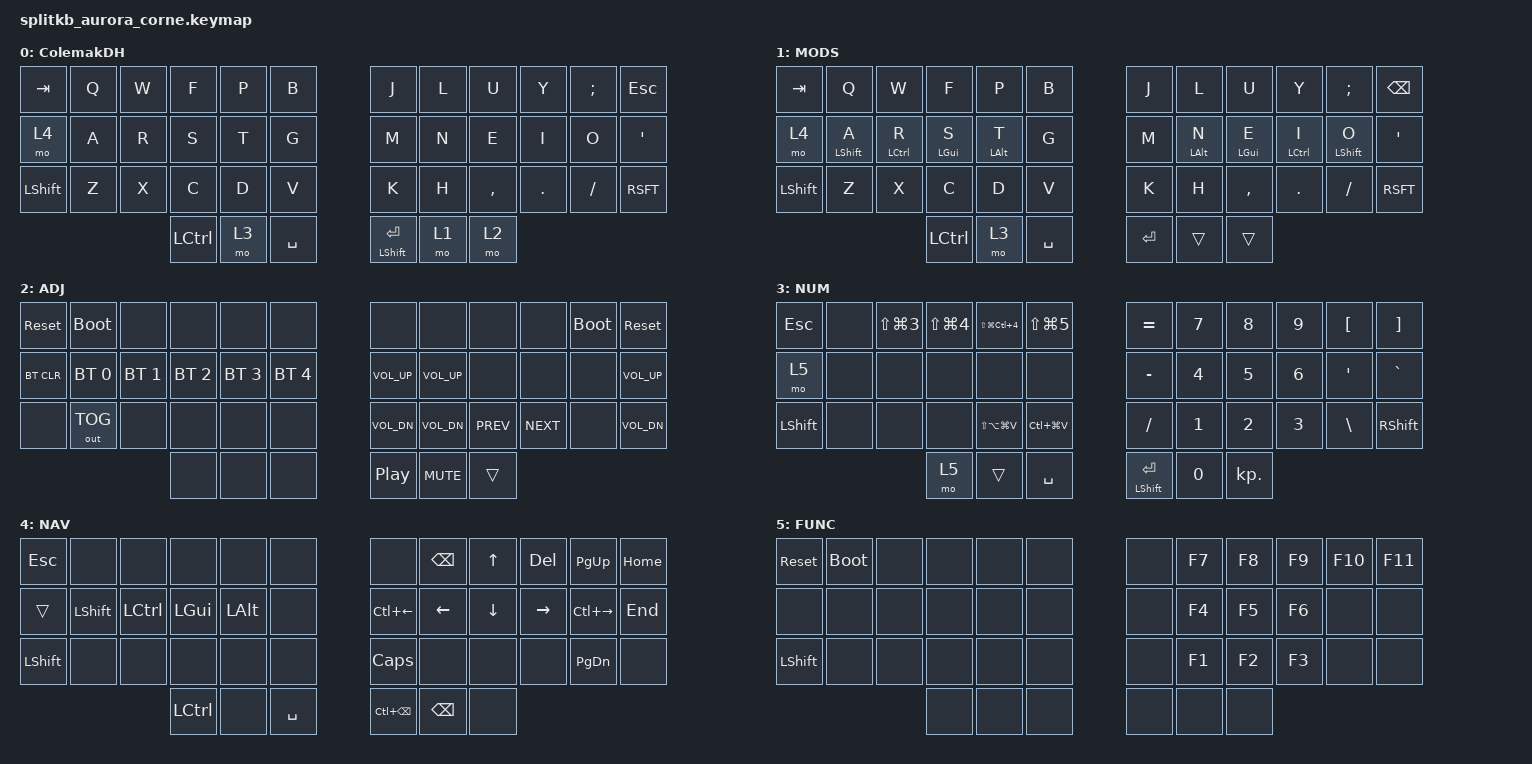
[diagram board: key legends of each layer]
/*
 * Copyright (c) 2020 The ZMK Contributors
 *
 * SPDX-License-Identifier: MIT
 */

#include <behaviors.dtsi>
#include <dt-bindings/zmk/keys.h>
#include <dt-bindings/zmk/bt.h>
#include <dt-bindings/zmk/outputs.h>
&mt {
     tapping-term-ms = <400>;
 };
 
/ {
        keymap {
                compatible = "zmk,keymap";

                default_layer {
                        label = "ColemakDH";
// -----------------------------------------------------------------------------------------
// |  TAB |  Q  |  W  |  F  |  P  |  B  |   |  J  |  L   |  U  |  Y  |  ;  | ESC |
// | MO-4 |  A  |  R  |  S  |  T  |  G  |   |  M  |  N   |  E  |  I  |  O  |  '   |
// | SHFT |  Z  |  X  |  C  |  D  |  V  |   |  K  |  H   |  ,  |  .  |  /  | RSFT |
//                    | CTL | MO-3| SPC |   |MT-ENT|MO-1 | MO-2 |
                        bindings = <
   &kp TAB   &kp Q &kp W &kp F &kp P &kp B    &kp J &kp L &kp U    &kp Y   &kp SEMI    &kp ESC
   &mo 4 &kp A &kp R &kp S &kp T &kp G    &kp M &kp N &kp E &kp I &kp O &kp APOS
   &kp LSHFT &kp Z &kp X &kp C &kp D &kp V    &kp K &kp H &kp CMMA &kp DOT &kp FSLH &kp RSFT
                   &kp LCTRL &mo 3 &kp SPACE   &mt LSHFT ENTER  &mo 1 &mo 2
                        >;
                };

                mods_layer {
                        label = "MODS";
// -----------------------------------------------------------------------------------------
// |  TAB |  Q  |  W  |  F  |  P  |  B  |   |  J  |  L   |  U  |  Y  |  ;  | ESC |
// | MO-4 | MT-A|MT-R |MT-S |MT-T |  G  |   |  M  |MT-N  |MT-E |MT-I |MT-O |  '   |
// | SHFT |  Z  |  X  |  C  |  D  |  V  |   |  K  |  H   |  ,  |  .  |  /  | RSFT |
//                    | CTRL| MO-3| SPC |   | ENT | trans| MO-2 |
                        bindings = <
   &kp TAB   &kp Q &kp W &kp F &kp P &kp B    &kp J &kp L &kp U    &kp Y   &kp SEMI    &kp BSPC
   &mo 4 &mt LSHFT A &mt LCTRL R &mt LGUI S &mt LALT T &kp G    &kp M &mt LALT N &mt LGUI E &mt LCTRL I &mt LSHFT O &kp APOS
   &kp LSHFT &kp Z &kp X &kp C &kp D &kp V    &kp K &kp H &kp CMMA &kp DOT &kp FSLH &kp RSFT
                   &kp LCTRL &mo 3 &kp SPACE   &kp ENTER &trans &trans 
                        >;
                };
                
                adj_layer {
                        label = "ADJ";
// -----------------------------------------------------------------------------------------
// | RESET|boot |     |     |     |     |   |     |     |     |     |     |boot |RESET
// | BTCLR| BT1 | BT2 | BT3 | BT4 | BT5 |   | Vol+| Vol+|     |     |     |      |Vol+
// |      |Out-t|     |     |     |     |   | Vol-| Vol-| PREV| NEXT|     |      |Vol-
//                    |     |     |     |   | Play| MUTE|trans|
                        bindings = <
   &sys_reset     &bootloader  &none        &none        &none        &none         &none        &none      &none      &none      &bootloader &sys_reset
   &bt BT_CLR &bt BT_SEL 0 &bt BT_SEL 1 &bt BT_SEL 2 &bt BT_SEL 3 &bt BT_SEL 4  &kp C_VOL_UP &kp C_VOL_UP      &none      &none      &none &kp C_VOL_UP
   &none      &out OUT_TOG &none        &none        &none        &none         &kp C_VOL_DN &kp C_VOL_DN &kp C_PREV &kp C_NEXT &none &kp C_VOL_DN
                          	        	&none     	 &none        &none      	&kp C_PP   &kp K_MUTE  &trans  
                        >;
                };

                num_layer {
                        label = "NUM";
// -----------------------------------------------------------------------------------------
// |  ESC |     |SG-3 |SG-4 |SGC4 |SG-5 |   |  =  |  7  |  8  |  9  |  [  | ]    |
// |MO-5  |     |     |     |     |     |   |  -  |  4  |  5  |  6  |  '  |  `   |
// | SHFT |     |     |     |SAG-V| CG-V|   |  /  |  1  |  2  |  3  |  \  |  SHFT|
//                    |MO-5 |trans| SPC |   |MT-ENT| 0  |  .   |
                        bindings = <
   &kp ESC   &none  &kp LS(LG(N3)) &kp LS(LG(N4)) &kp LS(LG(LC(N4))) &kp LS(LG(N5))     &kp EQUAL   &kp N7 &kp N8 &kp N9 &kp LBKT &kp RBKT
   &mo 5 	 &none 	&none 		   &none 		  &none 			 &none    			&kp MINUS 	&kp N4 &kp N5 &kp N6 &kp APOS  &kp GRAVE
   &kp LSHFT &none  &none    	   &none 		  &kp LS(LA(LG(V)))  &kp LC(LG(V)) 		&kp FSLH    &kp N1 &kp N2 &kp N3 &kp BSLH &kp RSHFT
              										&mo 5 &trans 	 &kp SPACE    		&mt LSHFT ENTER 	&kp N0 &kp KP_DOT
                        >;
                };
                
                nav_layer {
                        label = "NAV";
// -----------------------------------------------------------------------------------------
// |  ESC |     |     |     |     |     |   |     |BSPC | UP  | Del |PgUp | Home |
// |trans |SHFT |LCTRL|LALT |LGUI |     |   |C-Lft|Left |Down |Rght |C-Rgt| End  |
// | SHFT |     |     |     |     |     |   |Caps |     |     |     |     |      |
//                    | GUI |     | SPC |   |C-BS |     |     |
                        bindings = <
   &kp ESC   &none   &none  &none    &none    &none       &none     &kp BSPC  &kp UP  	&kp DEL &kp PG_UP &kp HOME
   &trans &kp LSHFT  &kp LCTRL &kp LGUI &kp LALT &none     &kp LC(LEFT) &kp LEFT &kp DOWN  &kp RIGHT &kp LC(RIGHT) &kp END
   &kp LSHFT &none   &none  &none    &none    &none       &kp CAPS &none  &none  &none &kp PG_DN &none
                    	    &kp LCTRL &none   &kp SPACE    &kp LC(BSPC)   &kp BSPC    &none
                        >;
                };
                
                func_layer {
                        label = "FUNC";
// -----------------------------------------------------------------------------------------
// | RESET|boot |     |     |     |     |   |     |  F7 |  F8 | F9  | F10 | F11  |
// |      |     |     |     |     |     |   |     |  F4 |  F5 | F6  |     |      |
// | SHFT |     |     |     |     |     |   |     |  F1 |  F2 | F3  |     |      |
//                    |     |     |     |   |     |     |     |
                        bindings = <
   &sys_reset &bootloader &none &none &none &none   &none &kp F7 &kp F8 &kp F9 &kp F10 &kp F11
   &none  &none &none &none &none &none   &none &kp F4 &kp F5 &kp F6 &none 	&none
   &kp LSHFT &none &none &none &none &none   &none &kp F1 &kp F2 &kp F3 &none 	&none
                		 &none &none &none   &none &none &none
                        >;
                };
        };
};
